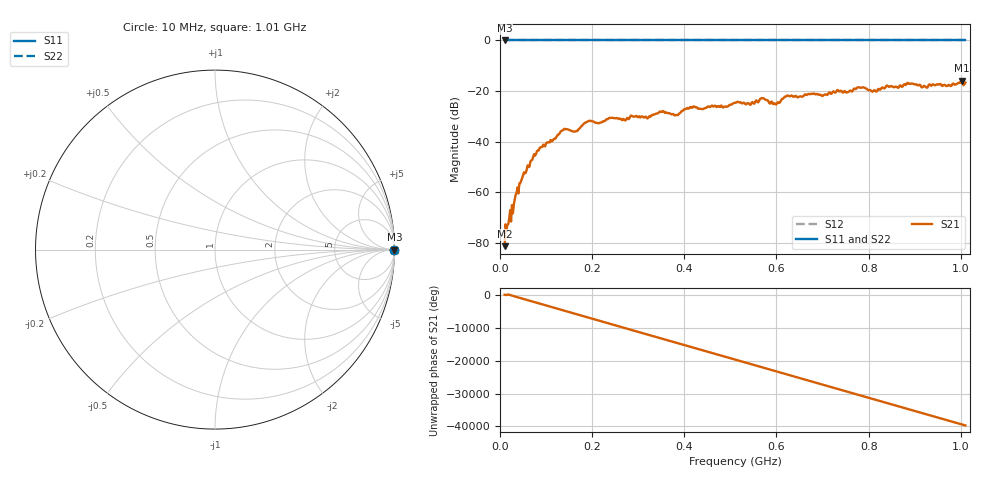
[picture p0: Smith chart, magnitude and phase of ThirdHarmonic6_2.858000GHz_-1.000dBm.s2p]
! 8/17/2025 7:46:30 AM
! C:\ANRITSUVNA\TEMP\TEMP.S2P
! CHANNEL.1
! TR.MEASUREMENT
! RAW.DATA
! RF.CORRECTION.OFF
! AVERAGING.OFF
! IF.BANDWIDTH: 5KHZ
! SWEEPTYPE:  FREQ.SWEEP(Linear)
! Reference Plane Port Info
! PORT:  PORT1  PORT2
! DISTANCE:  0  m  0  m
! TIME:  0  s  0  s
! PHASE.OFFSET:  0  deg.  0  deg.
! LOSS:  0  dB  0  dB
! REF.LOSS:  0  dB  0  dB
! REF.FREQ:  0  Hz  0  Hz
! Power Info
! POWER:  -20  dBm  -20  dBm
! EFF.POWER:  -20  dBm  -20  dBm
! SOURCE.ATTEN:  0  dB  0  dB
! TEST.ATTEN:  0  dB  0  dB
# GHZ S RI R 50.0
! FREQ.GHZ  S11RE  S11IM  S21RE  S21IM  S12RE  S12IM  S22RE  S22IM
!; PortSelection: Port_12
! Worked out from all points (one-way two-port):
!   501 points, 10 MHz to 1.01 GHz, reference 50 ohm
!   highest |S21| = -15.86 dB at 1.002 GHz (marker M1); lowest = -81.2 dB at 10 MHz (marker M2)
!   lowest |S11| = 0.0 dB at 10 MHz (marker M3)
!   |S11| at or under -10 dB: nowhere
!   |S22| runs from 0.0 to 0.0 dB; largest |S21 - S12| = 1.2
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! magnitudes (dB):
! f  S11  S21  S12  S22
! 10 MHz  0.0  -81.2  0.0  0.0
! 34 MHz  0.0  -60.9  0.0  0.0
! 46 MHz  0.0  -55.4  0.0  0.0
! 76 MHz  0.0  -45.5  0.0  0.0
! 136 MHz  0.0  -35.5  0.0  0.0
! 164 MHz  0.0  -35.9  0.0  0.0
! 178 MHz  0.0  -33.6  0.0  0.0
! 194 MHz  0.0  -31.7  0.0  0.0
! 322 MHz  0.0  -30.3  0.0  0.0
! 344 MHz  0.0  -28.6  0.0  0.0
! 382 MHz  0.0  -29.4  0.0  0.0
! 416 MHz  0.0  -26.6  0.0  0.0
! 510 MHz  0.0  -24.6  0.0  0.0
! 570 MHz  0.0  -22.8  0.0  0.0
! 596 MHz  0.0  -24.8  0.0  0.0
! 622 MHz  0.0  -21.9  0.0  0.0
! 678 MHz  0.0  -21.1  0.0  0.0
! 780 MHz  0.0  -18.5  0.0  0.0
! 814 MHz  0.0  -19.8  0.0  0.0
! 844 MHz  0.0  -18.3  0.0  0.0
! 1.002 GHz  0.0  -15.9  0.0  0.0
! 1.01 GHz  0.0  -16.6  0.0  0.0
